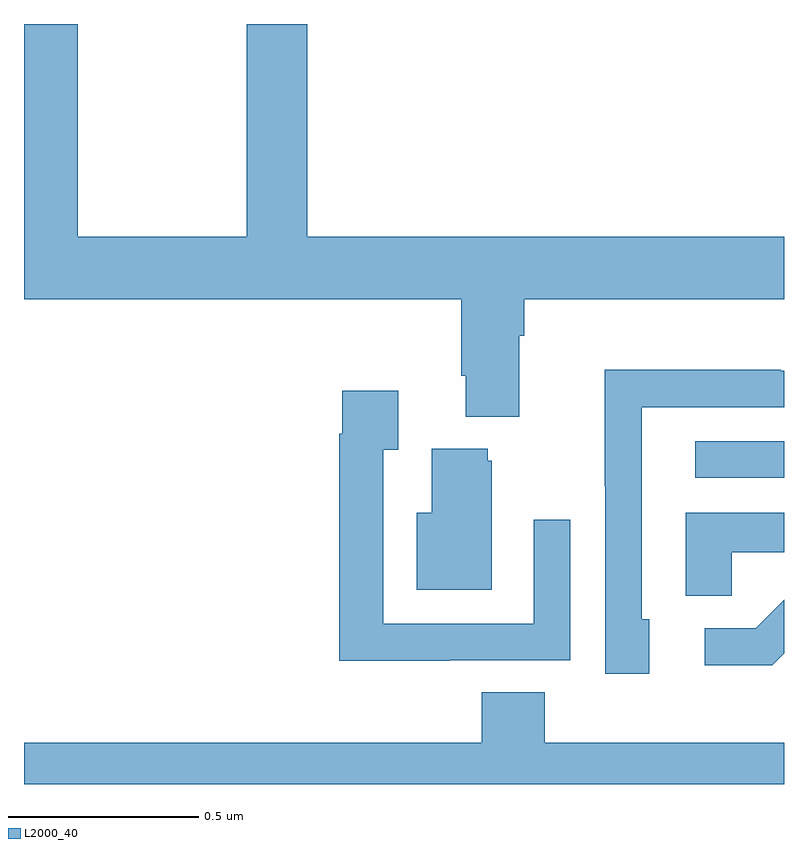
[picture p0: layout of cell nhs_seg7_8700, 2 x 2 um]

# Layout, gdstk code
import gdstk
lib = gdstk.Library(unit=1e-6, precision=1e-09)
def R(c, l, rs):  # rectangles x0, y0, x1, y1
    for r in rs: c.add(gdstk.rectangle(r[:2], r[2:], *l))
def P(c, l, *ps):  # polygons
    for p in ps: c.add(gdstk.Polygon(p, *l))
L2000_40 = (2000, 40)

nhs_seg7_8700 = lib.new_cell('nhs_seg7_8700')
R(nhs_seg7_8700, L2000_40, [(229.767,1006.806,230,1006.902)])
P(nhs_seg7_8700, L2000_40, [(229.303,1007.18),(229.316,1007.18),(229.316,1007.276),(230,1007.276),(230,1007.44),(228.746,1007.44),(228.746,1008),(228.586,1008),(228.586,1007.44),(228.141,1007.44),(228.141,1008),(228,1008),(228,1007.276),(229.151,1007.276),(229.151,1007.074),(229.163,1007.074),(229.163,1006.967),(229.303,1006.967)],
  [(229.645,1006.434),(229.626,1006.434),(229.626,1006.992),(230,1006.992),(230,1007.088),(229.991,1007.088),(229.991,1007.09),(229.528,1007.09),(229.528,1006.783),(229.53,1006.783),(229.53,1006.29),(229.645,1006.29)],
  [(229.121,1006.326),(229.437,1006.326),(229.437,1006.696),(229.341,1006.696),(229.341,1006.422),(228.945,1006.422),(228.945,1006.879),(228.985,1006.879),(228.985,1007.035),(228.837,1007.035),(228.837,1006.922),(228.829,1006.922),(228.829,1006.325),(229.121,1006.325)],
  [(229.231,1006.851),(229.22,1006.851),(229.22,1006.882),(229.073,1006.882),(229.073,1006.714),(229.034,1006.714),(229.034,1006.511),(229.231,1006.511)],
  [(229.863,1006.61),(230,1006.61),(230,1006.714),(229.742,1006.714),(229.742,1006.495),(229.863,1006.495)],
  [(230,1006.344),(230,1006.485),(229.925,1006.41),(229.791,1006.41),(229.791,1006.313),(229.969,1006.313)],
  [(230,1006.108),(229.37,1006.108),(229.37,1006.241),(229.205,1006.241),(229.205,1006.108),(228,1006.108),(228,1006),(230,1006)])

lib.write_gds('nhs_seg7_8700.gds')
